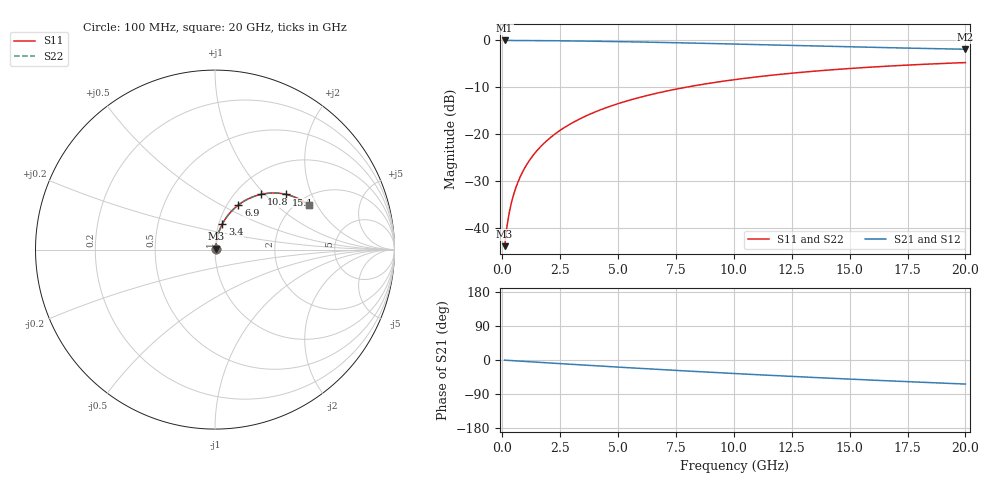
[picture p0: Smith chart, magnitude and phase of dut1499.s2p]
! Touchstone file exported from HFSS 2026.1.0
!  File:  C:/ffzhzh/LocalFiles/Ansys_Project_Files/temp_train_TMRDL_1499_1783167985_18472.aedt
!  Generated:  08:27:52 PM Jul  4, 2026
!  Design:  TMRDL
!  Project:  temp_train_TMRDL_1499_1783167985_18472
! Variables:
!  h_bsmrdl = 2um
!  h_ox = 20um
!  h_rdl = 5um
!  h_sub = 80um
!  h_tmrdl = 4.78um
!  h_tsv = 80um
!  h_via = 3um
!  l_bsmrdl = 300um
!  l_sub = 1383.12um
!  l_tmrdl = 983.12um
!  m_sub = 200um
!  pitch = 53um
!  r_tsv = 6um
!  s_tmrdl = 10um
!  w_bsmrdl = 18um
!  w_sub = 500um
!  w_tmrdl = 17.09um
!  x_tsv_center1 = 991.665um
!  x_tsv_center2 = 1309.665um
!  x_tsv_center3 = 2309.875um
!  x_tsv_center4 = 2627.875um
!  x_tsv_center5 = 3628.085um
!  x_tsv_center6 = 3946.085um
# GHz S MA R 50.000000
! Terminal data exported
! Port[1] = TM_RDL1_1_T1
! Port[2] = TM_RDL1_1_T2
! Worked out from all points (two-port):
!   200 points, 100 MHz to 20 GHz, reference 50 ohm
!   highest |S21| = -0.04 dB at 100 MHz (marker M1); lowest = -1.9 dB at 20 GHz (marker M2)
!   |S21| within 3 dB of the highest: start of sweep to end of sweep
!   lowest |S11| = -43.9 dB at 100 MHz (marker M3), VSWR 1.01, Z = 50.4 + j0.47 ohm
!   |S11| at or under -10 dB: start of sweep to 7.943 GHz
!   |S22| runs from -43.9 to -4.8 dB; largest |S21 - S12| = 1.2e-14
!   S11 on the Smith chart (normalised r, x): 100 MHz: 1.01, +0.01; 3.4 GHz: 1.04, +0.30; 6.9 GHz: 1.13, +0.61; 10.8 GHz: 1.30, +0.96; 15.1 GHz: 1.63, +1.34; 20 GHz: 2.31, +1.71
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0.1  0.006392 46.8  0.9956 -0.4  0.9956 -0.4  0.006392 46.8
! Gamma 0 0 0 0
! Port Impedance 50 0 50 0
0.2  0.01032 63.3  0.9954 -0.8  0.9954 -0.8  0.01032 63.3
0.3  0.01454 70.0  0.9952 -1.2  0.9952 -1.2  0.01454 70.0
0.4  0.01883 73.6  0.995 -1.6  0.995 -1.6  0.01883 73.6
0.5  0.02315 75.8  0.9948 -2.0  0.9948 -2.0  0.02315 75.8
0.7  0.03184 78.1  0.9944 -2.7  0.9944 -2.7  0.03184 78.1
1  0.04493 79.4  0.9937 -3.9  0.9937 -3.9  0.04493 79.4
1.4  0.0624 79.5  0.9925 -5.4  0.9925 -5.4  0.0624 79.5
2  0.08842 78.4  0.99 -7.7  0.99 -7.7  0.08842 78.4
2.6  0.1141 76.7  0.9868 -9.9  0.9868 -9.9  0.1141 76.7
3.4  0.1475 74.1  0.9815 -12.9  0.9815 -12.9  0.1475 74.1
3.5  0.1516 73.8  0.9808 -13.3  0.9808 -13.3  0.1516 73.8
5  0.2112 68.7  0.9681 -18.8  0.9681 -18.8  0.2112 68.7
6.8  0.2774 62.7  0.9498 -25.1  0.9498 -25.1  0.2774 62.7
6.9  0.2809 62.3  0.9487 -25.4  0.9487 -25.4  0.2809 62.3
8.4  0.3311 57.5  0.9316 -30.5  0.9316 -30.5  0.331 57.5
10.1  0.3826 52.1  0.9111 -36.0  0.9111 -36.0  0.3826 52.1
10.8  0.4022 50.0  0.9025 -38.1  0.9025 -38.1  0.4022 50.0
13.4  0.4667 42.4  0.8708 -45.9  0.8708 -45.9  0.4667 42.4
15.1  0.5022 37.7  0.851 -50.7  0.851 -50.7  0.5022 37.7
16.7  0.5311 33.5  0.8335 -55.1  0.8335 -55.1  0.5311 33.5
20  0.5783 25.3  0.8022 -63.5  0.8022 -63.5  0.5783 25.3
